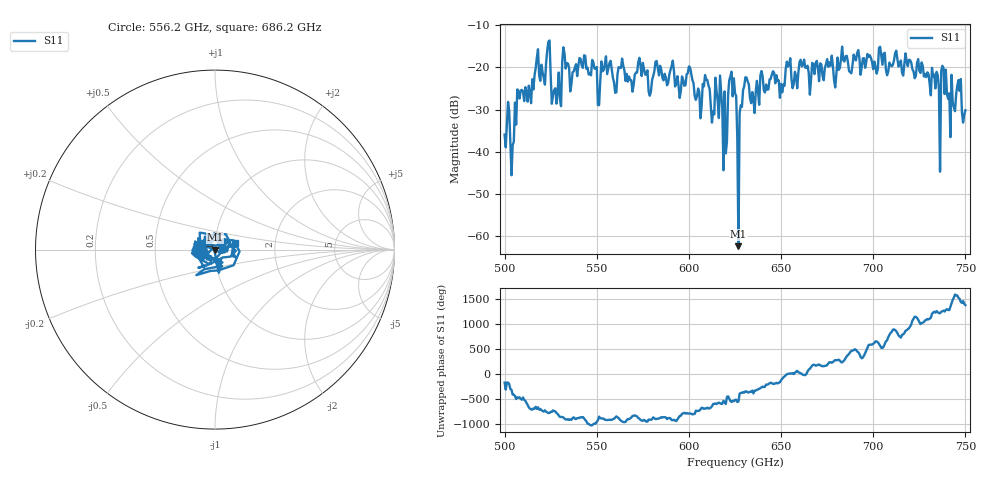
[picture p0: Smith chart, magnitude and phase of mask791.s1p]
!Created with skrf (http://scikit-rf.org).
# GHz S MA R 50.0
!freq magS11 angS11
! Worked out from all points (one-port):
!   401 points, 500 GHz to 750 GHz, reference 50 ohm
!   lowest |S11| = -62.4 dB at 626.9 GHz (marker M1), VSWR 1.00, Z = 49.9 + j0.012 ohm
!   |S11| at or under -10 dB: start of sweep to end of sweep
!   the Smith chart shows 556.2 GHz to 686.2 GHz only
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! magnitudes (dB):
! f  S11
! 500 GHz  -35.9
! 504.4 GHz  -38.4
! 508.1 GHz  -27.4
! 513.1 GHz  -24.3
! 517.5 GHz  -17.7
! 523.8 GHz  -13.9
! 526.9 GHz  -25.4
! 531.2 GHz  -18.7
! 562.5 GHz  -20.1
! 593.8 GHz  -22.1
! 610 GHz  -23.0
! 612.5 GHz  -33.1
! 616.2 GHz  -32.0
! 619.4 GHz  -25.7
! 622.5 GHz  -22.1
! 625 GHz  -26.1
! 626.9 GHz  -62.4
! 630.6 GHz  -22.3
! 634.4 GHz  -25.9
! 656.2 GHz  -24.9
! 687.5 GHz  -21.1
! 718.8 GHz  -19.7
! 733.8 GHz  -25.0
! 735 GHz  -21.9
! 738.1 GHz  -20.1
! 743.1 GHz  -28.3
! 746.2 GHz  -23.0
! 750 GHz  -30.2
